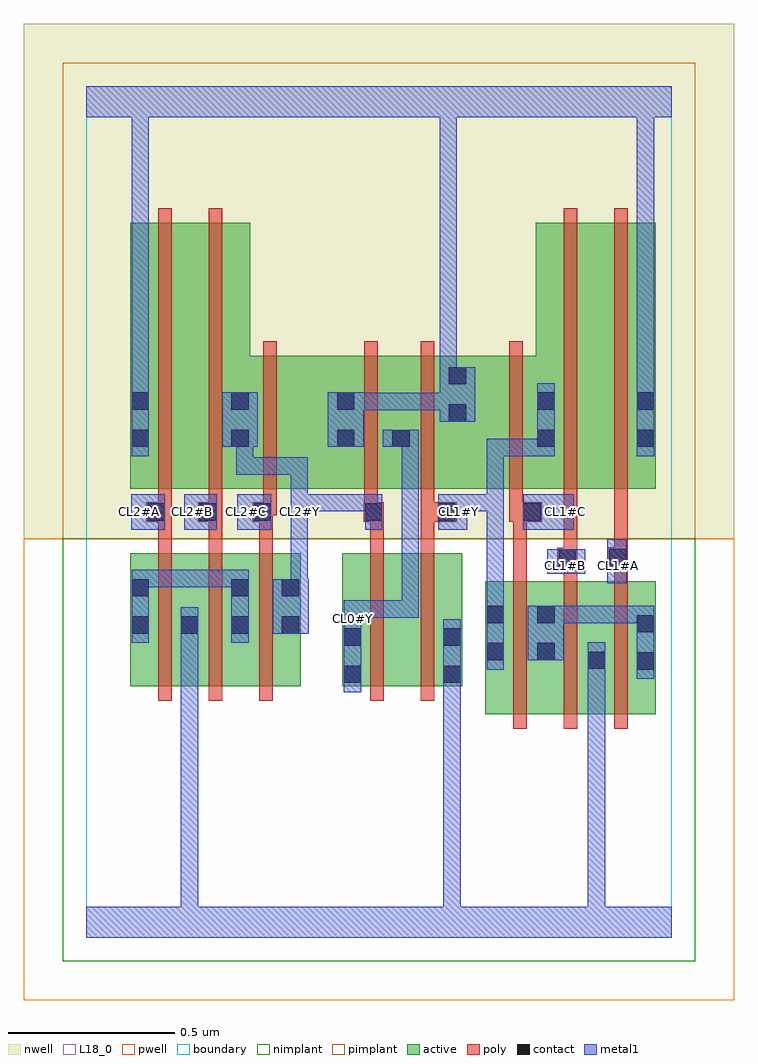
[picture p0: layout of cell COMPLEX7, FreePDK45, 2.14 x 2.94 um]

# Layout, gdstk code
import gdstk
lib = gdstk.Library(unit=1e-6, precision=1e-09)
def R(c, l, rs):  # rectangles x0, y0, x1, y1
    for r in rs: c.add(gdstk.rectangle(r[:2], r[2:], *l))
def A(c, l, x, y, w, h, nx, ny, dx, dy):  # array of equal rectangles
    R(c, l, [(x+i*dx, y+j*dy, x+i*dx+w, y+j*dy+h) for i in range(nx) for j in range(ny)])
active = (1, 0)
pwell = (2, 0)
nwell = (3, 0)
nimplant = (4, 0)
pimplant = (5, 0)
poly = (9, 0)
contact = (10, 0)
metal1 = (11, 0)
L18_0 = (18, 0)
boundary = (235, 0)

complex7 = lib.new_cell('COMPLEX7')
A(complex7, active, 0.28, 0.756, 0.06, 0.4, 3, 1, 0.152, 0)
R(complex7, active, [(1.2,0.672,1.26,1.072), (1.2,0.672,1.412,1.072), (1.352,0.672,1.564,1.072), (1.352,0.672,1.412,1.002), (1.504,0.672,1.712,1.072), (1.504,0.672,1.564,0.864), (1.652,0.672,1.712,1.072), (0.132,0.756,0.192,1.156), (0.132,0.756,0.34,1.156), (0.28,0.756,0.492,1.156), (0.432,0.756,0.644,1.156), (0.77,0.756,0.83,1.156), (0.77,0.756,0.95,1.156), (0.95,0.756,1.13,1.156), (1.07,0.756,1.13,1.156), (0.132,1.35,0.192,2.044), (0.132,1.35,0.312,2.15), (0.312,1.35,0.492,2.15), (0.432,1.35,0.492,1.644), (0.432,1.35,0.81,1.75), (0.75,1.35,0.81,1.644), (0.75,1.35,0.976,1.75), (0.916,1.35,0.976,1.75), (0.916,1.35,1.146,1.75), (1.086,1.35,1.412,1.75), (1.086,1.35,1.146,1.72), (1.352,1.35,1.532,2.15), (1.352,1.35,1.412,1.644), (1.532,1.35,1.712,2.15), (1.652,1.35,1.712,2.044)])
R(complex7, pwell, [(-0.188,-0.188,1.948,1.2)])
R(complex7, nwell, [(-0.188,1.2,1.948,2.748)])
R(complex7, nimplant, [(-0.072,-0.072,1.832,1.2)])
R(complex7, pimplant, [(-0.072,1.2,1.832,2.632)])
A(complex7, poly, 1.284, 0.628, 0.04, 0.488, 3, 1, 0.152, 0)
A(complex7, poly, 0.216, 0.712, 0.04, 0.488, 3, 1, 0.152, 0)
A(complex7, poly, 0.216, 1.16, 0.04, 0.13, 3, 1, 0.152, 0)
R(complex7, poly, [(0.854,0.712,0.894,1.2), (1.006,0.712,1.046,1.2), (1.284,1.076,1.324,1.29), (1.436,1.076,1.476,1.152), (1.588,1.076,1.628,1.154), (1.416,1.112,1.476,1.172), (1.568,1.114,1.628,1.174), (1.436,1.132,1.476,1.172), (1.436,1.132,1.476,1.172), (1.436,1.132,1.476,1.346), (1.588,1.134,1.628,1.346), (1.588,1.134,1.628,1.174), (1.588,1.134,1.628,1.174), (0.854,1.16,0.894,1.29), (1.006,1.16,1.046,1.29), (0.18,1.25,0.256,1.31), (0.216,1.25,0.256,1.29), (0.216,1.25,0.256,1.29), (0.336,1.25,0.408,1.31), (0.368,1.25,0.408,1.29), (0.368,1.25,0.408,1.29), (0.5,1.25,0.56,1.31), (0.834,1.25,0.894,1.31), (0.854,1.25,0.894,1.29), (0.854,1.25,0.894,1.29), (1.006,1.25,1.114,1.31), (1.272,1.25,1.37,1.31), (1.284,1.25,1.324,1.29), (1.284,1.25,1.324,1.29), (0.216,1.27,0.256,1.346), (0.368,1.27,0.408,1.346), (0.52,1.27,0.56,1.31), (0.52,1.27,0.572,1.31), (0.532,1.27,0.572,1.346), (0.836,1.27,0.876,1.346), (1.006,1.27,1.046,1.31), (1.006,1.27,1.046,1.31), (1.006,1.27,1.046,1.346), (1.272,1.27,1.312,1.346), (0.216,1.306,0.256,2.194), (0.368,1.306,0.408,2.194), (0.532,1.306,0.572,1.794), (0.836,1.306,0.876,1.794), (1.006,1.306,1.046,1.794), (1.272,1.306,1.312,1.794), (1.436,1.306,1.476,2.194), (1.588,1.306,1.628,2.194)])
A(complex7, contact, 0.284, 0.914, 0.052, 0.052, 3, 1, 0.152, 0)
R(complex7, contact, [(0.774,0.766,0.826,0.818), (1.074,0.766,1.126,0.818), (1.656,0.806,1.708,0.858), (1.508,0.808,1.56,0.86), (1.204,0.834,1.256,0.886), (1.356,0.834,1.408,0.886), (0.774,0.878,0.826,0.93), (1.074,0.878,1.126,0.93), (0.136,0.914,0.188,0.966), (1.656,0.918,1.708,0.97), (1.204,0.946,1.256,0.998), (1.356,0.946,1.408,0.998), (0.136,1.026,0.188,1.078), (0.436,1.026,0.488,1.078), (0.588,1.026,0.64,1.078), (1.42,1.116,1.472,1.168), (1.572,1.118,1.624,1.17), (0.184,1.254,0.236,1.306), (0.34,1.254,0.392,1.306), (0.504,1.254,0.556,1.306), (0.838,1.254,0.89,1.306), (1.058,1.254,1.11,1.306), (1.314,1.254,1.366,1.306), (0.136,1.476,0.188,1.528), (0.436,1.476,0.488,1.528), (0.754,1.476,0.806,1.528), (0.92,1.476,0.972,1.528), (1.356,1.476,1.408,1.528), (1.656,1.476,1.708,1.528), (1.09,1.552,1.142,1.604), (0.136,1.588,0.188,1.64), (0.436,1.588,0.488,1.64), (0.754,1.588,0.806,1.64), (1.356,1.588,1.408,1.64), (1.656,1.588,1.708,1.64), (1.09,1.664,1.142,1.716)])
R(complex7, metal1, [(0,0,1.76,0.092), (0.284,0.04,0.336,0.092), (0.284,0.04,0.336,0.092), (0.284,0.04,0.336,0.092), (0.284,0.04,0.336,0.092), (0.284,0.04,0.336,0.938), (1.074,0.04,1.126,0.092), (1.074,0.04,1.126,0.092), (1.074,0.04,1.126,0.092), (1.074,0.04,1.126,0.092), (1.074,0.04,1.126,0.79), (1.508,0.04,1.56,0.092), (1.508,0.04,1.56,0.092), (1.508,0.04,1.56,0.092), (1.508,0.04,1.56,0.092), (1.508,0.04,1.56,0.092), (1.508,0.04,1.56,0.092), (1.508,0.04,1.56,0.092), (1.508,0.04,1.56,0.092), (1.508,0.04,1.56,0.092), (1.508,0.04,1.56,0.092), (1.508,0.04,1.56,0.092), (1.508,0.04,1.56,0.092), (1.508,0.04,1.56,0.832), (0.774,0.738,0.826,0.958), (1.074,0.738,1.126,0.79), (1.074,0.738,1.126,0.79), (1.074,0.738,1.126,0.79), (1.074,0.738,1.126,0.79), (1.074,0.738,1.126,0.79), (1.074,0.738,1.126,0.79), (1.074,0.738,1.126,0.79), (1.074,0.738,1.126,0.79), (1.074,0.738,1.126,0.958), (1.656,0.778,1.708,0.998), (1.508,0.78,1.56,0.888), (1.204,0.806,1.256,1.026), (1.328,0.834,1.436,0.998), (0.136,0.886,0.188,1.106), (0.284,0.886,0.336,0.938), (0.284,0.886,0.336,0.938), (0.284,0.886,0.336,0.938), (0.284,0.886,0.336,0.938), (0.284,0.886,0.336,0.938), (0.284,0.886,0.336,0.938), (0.284,0.886,0.336,0.938), (0.284,0.886,0.336,0.938), (0.284,0.886,0.336,0.994), (0.436,0.886,0.488,1.106), (0.774,0.906,0.826,0.958), (0.774,0.906,0.826,1.014), (0.56,0.914,0.668,1.078), (1.384,0.946,1.436,0.998), (1.384,0.946,1.436,0.998), (1.384,0.946,1.546,0.998), (1.494,0.946,1.546,0.998), (1.494,0.946,1.708,0.998), (1.656,0.946,1.708,0.998), (1.656,0.946,1.708,0.998), (0.774,0.962,0.826,1.014), (0.774,0.962,0.826,1.014), (0.774,0.962,1,1.014), (0.948,0.962,1,1.014), (0.948,0.962,1,1.014), (0.948,0.962,1,1.014), (0.948,0.962,1,1.528), (1.204,0.974,1.256,1.334), (0.614,1.026,0.666,1.278), (0.136,1.054,0.188,1.106), (0.136,1.054,0.188,1.106), (0.136,1.054,0.35,1.106), (0.298,1.054,0.35,1.106), (0.298,1.054,0.35,1.106), (0.298,1.054,0.35,1.106), (0.298,1.054,0.488,1.106), (1.566,1.066,1.626,1.198), (1.386,1.094,1.5,1.168), (0.134,1.226,0.236,1.334), (0.294,1.226,0.392,1.334), (0.454,1.226,0.556,1.334), (0.614,1.226,0.666,1.334), (0.838,1.226,0.89,1.334), (1.058,1.226,1.146,1.334), (1.314,1.226,1.466,1.334), (0.614,1.282,0.666,1.334), (0.614,1.282,0.666,1.334), (0.614,1.282,0.666,1.334), (0.614,1.282,0.89,1.334), (0.614,1.282,0.666,1.444), (1.094,1.282,1.146,1.334), (1.094,1.282,1.146,1.334), (1.094,1.282,1.256,1.334), (1.204,1.282,1.256,1.334), (1.204,1.282,1.256,1.334), (1.204,1.282,1.256,1.334), (1.204,1.282,1.256,1.5), (0.45,1.392,0.502,1.444), (0.45,1.392,0.502,1.444), (0.45,1.392,0.502,1.444), (0.45,1.392,0.666,1.444), (0.45,1.392,0.502,1.528), (0.136,1.448,0.188,1.668), (1.204,1.448,1.256,1.5), (1.204,1.448,1.326,1.5), (1.274,1.448,1.326,1.5), (1.274,1.448,1.408,1.5), (1.356,1.448,1.408,1.668), (1.656,1.448,1.708,1.668), (0.408,1.476,0.516,1.64), (0.726,1.476,0.834,1.64), (0.892,1.476,1,1.528), (1.062,1.552,1.17,1.716), (0.782,1.586,0.834,1.638), (0.782,1.586,0.834,1.638), (0.782,1.586,1,1.638), (0.948,1.586,1,1.638), (0.948,1.586,1,1.638), (0.948,1.586,1,1.638), (0.948,1.586,1.114,1.638), (0.136,1.616,0.188,1.668), (0.136,1.616,0.188,1.668), (0.136,1.616,0.188,2.52), (1.656,1.616,1.708,1.668), (1.656,1.616,1.708,1.668), (1.656,1.616,1.708,2.52), (1.062,1.664,1.114,1.716), (1.062,1.664,1.114,1.716), (1.062,1.664,1.114,1.716), (1.062,1.664,1.114,1.716), (1.062,1.664,1.114,1.716), (1.062,1.664,1.114,1.716), (1.062,1.664,1.114,2.52), (0,2.468,1.76,2.56), (0.136,2.468,0.188,2.52), (0.136,2.468,0.188,2.52), (0.136,2.468,0.188,2.52), (0.136,2.468,0.188,2.52), (0.136,2.468,0.188,2.52), (0.136,2.468,0.188,2.52), (1.062,2.468,1.114,2.52), (1.062,2.468,1.114,2.52), (1.062,2.468,1.114,2.52), (1.062,2.468,1.114,2.52), (1.062,2.468,1.114,2.52), (1.062,2.468,1.114,2.52), (1.062,2.468,1.114,2.52), (1.062,2.468,1.114,2.52), (1.062,2.468,1.114,2.52), (1.062,2.468,1.114,2.52), (1.656,2.468,1.708,2.52), (1.656,2.468,1.708,2.52), (1.656,2.468,1.708,2.52), (1.656,2.468,1.708,2.52), (1.656,2.468,1.708,2.52), (1.656,2.468,1.708,2.52)])
A(complex7, L18_0, 0.774, 0.906, 0.052, 0.052, 1, 3, 0, 0.028)
A(complex7, L18_0, 0.134, 1.254, 0.052, 0.052, 4, 1, 0.16, 0)
R(complex7, L18_0, [(0,0,1.76,0.092), (0.284,0.04,0.336,0.092), (0.284,0.04,0.336,0.092), (0.284,0.04,0.336,0.092), (0.284,0.04,0.336,0.092), (0.284,0.04,0.336,0.938), (1.074,0.04,1.126,0.092), (1.074,0.04,1.126,0.092), (1.074,0.04,1.126,0.092), (1.074,0.04,1.126,0.092), (1.074,0.04,1.126,0.79), (1.508,0.04,1.56,0.092), (1.508,0.04,1.56,0.092), (1.508,0.04,1.56,0.092), (1.508,0.04,1.56,0.092), (1.508,0.04,1.56,0.092), (1.508,0.04,1.56,0.092), (1.508,0.04,1.56,0.092), (1.508,0.04,1.56,0.092), (1.508,0.04,1.56,0.092), (1.508,0.04,1.56,0.092), (1.508,0.04,1.56,0.092), (1.508,0.04,1.56,0.092), (1.508,0.04,1.56,0.832), (0.774,0.738,0.826,0.958), (1.074,0.738,1.126,0.958), (1.074,0.738,1.126,0.79), (1.074,0.738,1.126,0.79), (1.074,0.738,1.126,0.79), (1.074,0.738,1.126,0.79), (1.074,0.738,1.126,0.79), (1.074,0.738,1.126,0.79), (1.074,0.738,1.126,0.79), (1.074,0.738,1.126,0.79), (1.508,0.78,1.56,0.888), (1.204,0.806,1.256,1.026), (0.284,0.886,0.336,0.938), (0.284,0.886,0.336,0.938), (0.284,0.886,0.336,0.938), (0.284,0.886,0.336,0.938), (0.284,0.886,0.336,0.938), (0.284,0.886,0.336,0.938), (0.284,0.886,0.336,0.938), (0.284,0.886,0.336,0.938), (0.284,0.886,0.336,0.994), (0.774,0.906,0.826,1.014), (0.56,0.914,0.668,1.078), (0.774,0.962,0.826,1.014), (0.774,0.962,1,1.014), (0.948,0.962,1,1.014), (0.948,0.962,1,1.014), (0.948,0.962,1,1.014), (0.948,0.962,1,1.528), (1.204,0.974,1.256,1.334), (0.614,1.026,0.666,1.278), (1.566,1.066,1.626,1.198), (1.386,1.094,1.5,1.168), (1.414,1.094,1.466,1.146), (1.574,1.094,1.626,1.146), (0.134,1.226,0.236,1.334), (0.294,1.226,0.392,1.334), (0.454,1.226,0.556,1.334), (0.614,1.226,0.666,1.334), (0.838,1.226,0.89,1.334), (1.058,1.226,1.146,1.334), (1.314,1.226,1.466,1.334), (1.094,1.254,1.146,1.306), (1.414,1.254,1.466,1.306), (0.614,1.282,0.666,1.334), (0.614,1.282,0.666,1.334), (0.614,1.282,0.666,1.334), (0.614,1.282,0.666,1.444), (0.614,1.282,0.89,1.334), (1.094,1.282,1.146,1.334), (1.094,1.282,1.146,1.334), (1.094,1.282,1.256,1.334), (1.204,1.282,1.256,1.334), (1.204,1.282,1.256,1.334), (1.204,1.282,1.256,1.334), (1.204,1.282,1.256,1.5), (0.45,1.392,0.502,1.444), (0.45,1.392,0.502,1.444), (0.45,1.392,0.502,1.444), (0.45,1.392,0.502,1.528), (0.45,1.392,0.666,1.444), (0.136,1.448,0.188,1.668), (1.204,1.448,1.256,1.5), (1.204,1.448,1.326,1.5), (1.274,1.448,1.326,1.5), (1.274,1.448,1.408,1.5), (1.356,1.448,1.408,1.668), (1.656,1.448,1.708,1.668), (0.408,1.476,0.516,1.64), (0.726,1.476,0.834,1.64), (0.892,1.476,1,1.528), (1.062,1.552,1.17,1.716), (0.782,1.586,0.834,1.638), (0.782,1.586,0.834,1.638), (0.782,1.586,1,1.638), (0.948,1.586,1,1.638), (0.948,1.586,1,1.638), (0.948,1.586,1,1.638), (0.948,1.586,1.114,1.638), (0.136,1.616,0.188,1.668), (0.136,1.616,0.188,1.668), (0.136,1.616,0.188,2.52), (1.656,1.616,1.708,1.668), (1.656,1.616,1.708,1.668), (1.656,1.616,1.708,2.52), (1.062,1.664,1.114,1.716), (1.062,1.664,1.114,1.716), (1.062,1.664,1.114,1.716), (1.062,1.664,1.114,1.716), (1.062,1.664,1.114,1.716), (1.062,1.664,1.114,1.716), (1.062,1.664,1.114,2.52), (0,2.468,1.76,2.56), (0.136,2.468,0.188,2.52), (0.136,2.468,0.188,2.52), (0.136,2.468,0.188,2.52), (0.136,2.468,0.188,2.52), (0.136,2.468,0.188,2.52), (0.136,2.468,0.188,2.52), (1.062,2.468,1.114,2.52), (1.062,2.468,1.114,2.52), (1.062,2.468,1.114,2.52), (1.062,2.468,1.114,2.52), (1.062,2.468,1.114,2.52), (1.062,2.468,1.114,2.52), (1.062,2.468,1.114,2.52), (1.062,2.468,1.114,2.52), (1.062,2.468,1.114,2.52), (1.062,2.468,1.114,2.52), (1.656,2.468,1.708,2.52), (1.656,2.468,1.708,2.52), (1.656,2.468,1.708,2.52), (1.656,2.468,1.708,2.52), (1.656,2.468,1.708,2.52), (1.656,2.468,1.708,2.52)])
R(complex7, boundary, [(0,0,1.76,2.56)])
complex7.add(gdstk.Label('CL0#Y', (0.8,0.96), layer=11, texttype=0))
complex7.add(gdstk.Label('CL1#A', (1.6,1.12), layer=11, texttype=0))
complex7.add(gdstk.Label('CL1#B', (1.44,1.12), layer=11, texttype=0))
complex7.add(gdstk.Label('CL1#C', (1.44,1.28), layer=11, texttype=0))
complex7.add(gdstk.Label('CL1#Y', (1.12,1.28), layer=11, texttype=0))
complex7.add(gdstk.Label('CL2#A', (0.16,1.28), layer=11, texttype=0))
complex7.add(gdstk.Label('CL2#B', (0.32,1.28), layer=11, texttype=0))
complex7.add(gdstk.Label('CL2#C', (0.48,1.28), layer=11, texttype=0))
complex7.add(gdstk.Label('CL2#Y', (0.64,1.28), layer=11, texttype=0))

lib.write_gds('COMPLEX7.gds')
